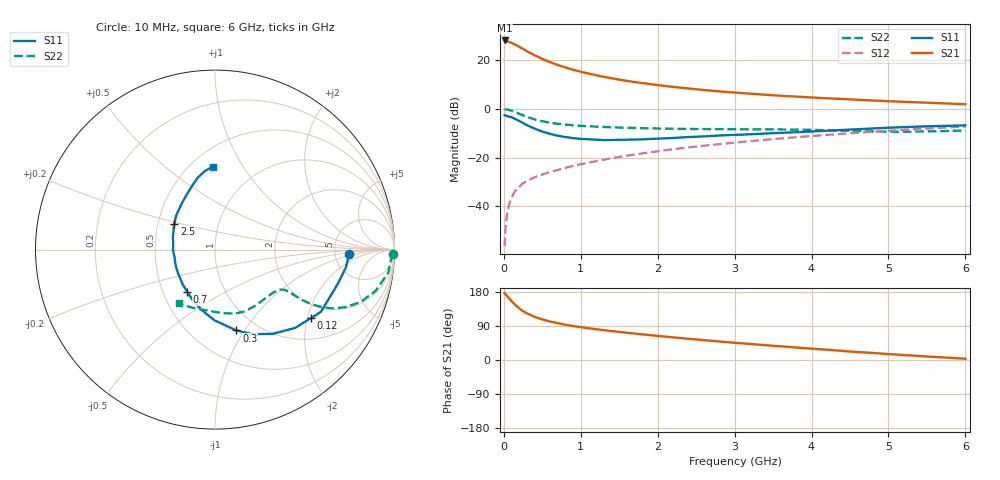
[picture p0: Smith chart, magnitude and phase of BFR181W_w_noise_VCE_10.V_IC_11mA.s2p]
! Infineon Technologies  Discrete & RF Semiconductors
! BFR181W
! VCE =  10. V,  IC =  11 mA
! Common Emitter S-Parameters:  Jan 2017
# GHz  S  MA  R  50
!  f  S11  S21  S12  S22
! GHz  MAG  ANG  MAG  ANG  MAG  ANG  MAG  ANG
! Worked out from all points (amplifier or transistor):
!   77 points, 10 MHz to 6 GHz, reference 50 ohm
!   highest |S21| = 28.2 dB at 10 MHz (marker M1)
!   |S21| within 3 dB of that: start of sweep to 221.3 MHz
!   unconditionally stable (mu >= 1): 1.034 GHz to 3.017 GHz
!   at 130 MHz: K = 0.28, MSG = 30.7 dB, |S12| = -34.7 dB
!   at 2.2 GHz: K = 1.05, MAG = 11.5 dB, |S12| = -16.6 dB
!   at 6 GHz: K = 0.85, MSG = 4.6 dB, |S12| = -7.2 dB
!   lowest NFmin = 1.29 dB at 450 MHz
!   S11 on the Smith chart (normalised r, x): 10 MHz: 6.83, -0.77; 120 MHz: 1.56, -2.10; 300 MHz: 0.80, -0.92; 700 MHz: 0.66, -0.34; 2.5 GHz: 0.61, +0.19; 6 GHz: 0.63, +0.74
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0.01  0.7474 -1.9  25.82 176.8  0.0015 84.2  0.9915 -1.4
0.02  0.7364 -7.6  25.48 173.8  0.0032 93.5  0.9828 -2.8
0.05  0.7106 -15.5  24.62 167.0  0.008 77.0  0.9741 -7.6
0.1  0.6845 -30.4  23.09 155.2  0.0147 78.2  0.9243 -14.4
0.12  0.6557 -35.7  22.24 151.4  0.0172 74.1  0.8986 -16.5
0.15  0.624 -44.4  21.18 145.1  0.021 69.8  0.8623 -19.8
0.2  0.5684 -55.7  19.09 136.1  0.0249 67.4  0.7982 -23.6
0.25  0.5149 -66.2  17.24 128.9  0.0299 64.6  0.7404 -26.3
0.3  0.4658 -75.2  15.49 123.0  0.0327 62.8  0.6884 -28.0
0.4  0.3953 -90.1  12.8 113.8  0.0393 62.3  0.6129 -29.6
0.5  0.3442 -102.6  10.75 107.1  0.045 62.4  0.5602 -30.1
0.6  0.3081 -113.7  9.255 101.7  0.0506 62.7  0.5235 -30.0
0.7  0.282 -123.3  8.086 97.2  0.0555 64.3  0.4969 -29.8
0.9  0.2511 -140.7  6.453 89.8  0.0673 65.4  0.4631 -29.9
1.1  0.2386 -154.9  5.379 84.0  0.0787 66.4  0.4425 -30.3
1.5  0.2332 -177.6  4.035 74.1  0.1031 67.4  0.4155 -33.1
2.1  0.2492 158.9  2.98 61.7  0.1417 66.6  0.3945 -40.8
2.5  0.2687 147.4  2.556 54.2  0.1688 65.3  0.3873 -47.3
3.1  0.2975 133.3  2.127 44.0  0.2106 62.3  0.3828 -57.4
4.1  0.351 115.5  1.697 28.5  0.2854 55.8  0.3691 -74.8
5.1  0.4179 102.1  1.429 14.4  0.3643 47.7  0.3417 -99.5
6  0.4613 91.7  1.256 3.4  0.4369 39.4  0.362 -124.0
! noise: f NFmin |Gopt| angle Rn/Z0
0.45  1.29  0.12  17  0.21
0.9  1.33  0.12  31  0.21
1.9  1.76  0.04  -171  0.2
2.4  1.95  0.05  -122  0.25
